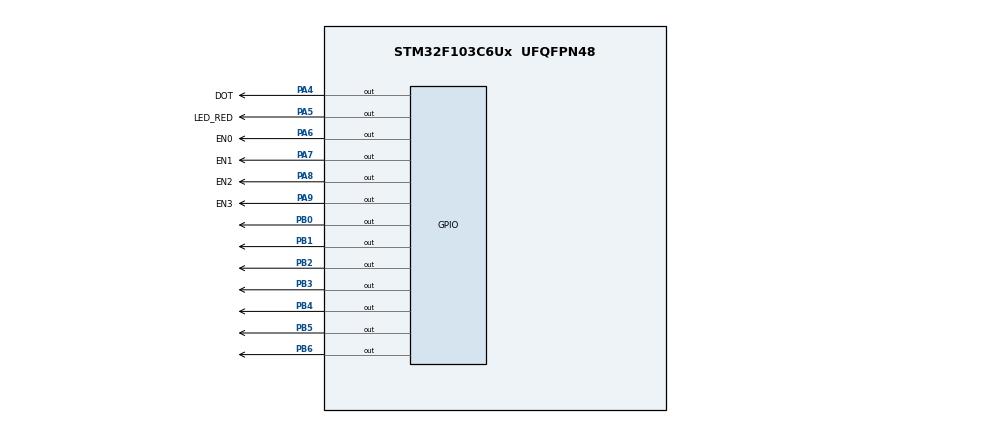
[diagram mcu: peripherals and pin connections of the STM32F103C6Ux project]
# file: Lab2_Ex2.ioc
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Mcu.Family=STM32F1
Mcu.Name=STM32F103C6Ux
Mcu.Package=UFQFPN48
NVIC.PriorityGroup=NVIC_PRIORITYGROUP_4
NVIC.TIM2_IRQn=true\:0\:0\:false\:false\:true\:true\:true\:true
PA4.GPIO_Label=DOT
PA4.Signal=GPIO_Output
PA5.GPIO_Label=LED_RED
PA5.Signal=GPIO_Output
PA6.GPIO_Label=EN0
PA6.Signal=GPIO_Output
PA7.GPIO_Label=EN1
PA7.Signal=GPIO_Output
PA8.GPIO_Label=EN2
PA8.Signal=GPIO_Output
PA9.GPIO_Label=EN3
PA9.Signal=GPIO_Output
PB0.Signal=GPIO_Output
PB1.Signal=GPIO_Output
PB2.Signal=GPIO_Output
PB3.Signal=GPIO_Output
PB4.Signal=GPIO_Output
PB5.Signal=GPIO_Output
PB6.Signal=GPIO_Output
ProjectManager.HeapSize=0x200
ProjectManager.StackSize=0x400
ProjectManager.TargetToolchain=STM32CubeIDE
RCC.APB1Freq_Value=8000000
RCC.APB2Freq_Value=8000000
TIM2.Period=9
TIM2.Prescaler=7999
VP_TIM2_VS_ClockSourceINT.Mode=Internal
board=custom

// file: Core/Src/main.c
/* USER CODE BEGIN Header */
/**
  ******************************************************************************
  * @file           : main.c
  * @brief          : Main program body
  ******************************************************************************
  * @attention
  *
  * Copyright (c) 2022 STMicroelectronics.
  * All rights reserved.
  *
  * This software is licensed under terms that can be found in the LICENSE file
  * in the root directory of this software component.
  * If no LICENSE file comes with this software, it is provided AS-IS.
  *
  ******************************************************************************
  */
/* USER CODE END Header */
#include "main.h"

/* USER CODE BEGIN PTD */
static int i = 1;
static int count = 50;
static int state = 0;
/* USER CODE END PTD */

/* USER CODE BEGIN PD */
#define LIMIT 0
#define SetTime 50
#define MAX_LED 4
/* USER CODE END PD */

TIM_HandleTypeDef htim2;

void SystemClock_Config(void);
static void MX_GPIO_Init(void);
static void MX_TIM2_Init(void);

/* USER CODE BEGIN 0 */
static uint8_t LED7_SEG[10] = {0xC0, 0xF9, 0xA4, 0xB0, 0x99, 0x92, 0x82, 0xF8, 0x80, 0x90};

void display7SEG(int index) {
    HAL_GPIO_WritePin(GPIOB, GPIO_PIN_0, ((LED7_SEG[index] >> 0) & 0x01));
    HAL_GPIO_WritePin(GPIOB, GPIO_PIN_1, ((LED7_SEG[index] >> 1) & 0x01));
    HAL_GPIO_WritePin(GPIOB, GPIO_PIN_2, ((LED7_SEG[index] >> 2) & 0x01));
    HAL_GPIO_WritePin(GPIOB, GPIO_PIN_3, ((LED7_SEG[index] >> 3) & 0x01));
    HAL_GPIO_WritePin(GPIOB, GPIO_PIN_4, ((LED7_SEG[index] >> 4) & 0x01));
    HAL_GPIO_WritePin(GPIOB, GPIO_PIN_5, ((LED7_SEG[index] >> 5) & 0x01));
    HAL_GPIO_WritePin(GPIOB, GPIO_PIN_6, ((LED7_SEG[index] >> 6) & 0x01));
}

void enable7SEG(int i) {
    switch (i) {
        case 0: {
            HAL_GPIO_WritePin(EN0_GPIO_Port, EN0_Pin, RESET);
            HAL_GPIO_WritePin(EN1_GPIO_Port, EN1_Pin, SET);
            HAL_GPIO_WritePin(EN2_GPIO_Port, EN2_Pin, SET);
            HAL_GPIO_WritePin(EN3_GPIO_Port, EN3_Pin, SET);
            break;
        }
        case 1: {
            HAL_GPIO_WritePin(EN0_GPIO_Port, EN0_Pin, SET);
            HAL_GPIO_WritePin(EN1_GPIO_Port, EN1_Pin, RESET);
            HAL_GPIO_WritePin(EN2_GPIO_Port, EN2_Pin, SET);
            HAL_GPIO_WritePin(EN3_GPIO_Port, EN3_Pin, SET);
            break;
        }
        case 2: {
            HAL_GPIO_WritePin(EN0_GPIO_Port, EN0_Pin, SET);
            HAL_GPIO_WritePin(EN1_GPIO_Port, EN1_Pin, SET);
            HAL_GPIO_WritePin(EN2_GPIO_Port, EN2_Pin, RESET);
            HAL_GPIO_WritePin(EN3_GPIO_Port, EN3_Pin, SET);
            break;
        }
        case 3:
            HAL_GPIO_WritePin(EN0_GPIO_Port, EN0_Pin, SET);
            HAL_GPIO_WritePin(EN1_GPIO_Port, EN1_Pin, SET);
            HAL_GPIO_WritePin(EN2_GPIO_Port, EN2_Pin, SET);
            HAL_GPIO_WritePin(EN3_GPIO_Port, EN3_Pin, RESET);
            break;
        default:
            break;
    }
}
/* USER CODE END 0 */

int main(void)
{

  /* MCU Configuration--------------------------------------------------------*/

  /* Reset of all peripherals, Initializes the Flash interface and the Systick. */
  HAL_Init();

  /* Configure the system clock */
  SystemClock_Config();

  /* Initialize all configured peripherals */
  MX_GPIO_Init();
  MX_TIM2_Init();
  /* USER CODE BEGIN 2 */
    HAL_TIM_Base_Start_IT(&htim2);
  /* USER CODE END 2 */

  /* Infinite loop */
    while (1) {

    }
}

void SystemClock_Config(void)
{
  RCC_OscInitTypeDef RCC_OscInitStruct = {0};
  RCC_ClkInitTypeDef RCC_ClkInitStruct = {0};

  /** Initializes the RCC Oscillators according to the specified parameters
  * in the RCC_OscInitTypeDef structure.
  */
  RCC_OscInitStruct.OscillatorType = RCC_OSCILLATORTYPE_HSI;
  RCC_OscInitStruct.HSIState = RCC_HSI_ON;
  RCC_OscInitStruct.HSICalibrationValue = RCC_HSICALIBRATION_DEFAULT;
  RCC_OscInitStruct.PLL.PLLState = RCC_PLL_NONE;
  if (HAL_RCC_OscConfig(&RCC_OscInitStruct) != HAL_OK)
  {
    Error_Handler();
  }

  /** Initializes the CPU, AHB and APB buses clocks
  */
  RCC_ClkInitStruct.ClockType = RCC_CLOCKTYPE_HCLK|RCC_CLOCKTYPE_SYSCLK
                              |RCC_CLOCKTYPE_PCLK1|RCC_CLOCKTYPE_PCLK2;
  RCC_ClkInitStruct.SYSCLKSource = RCC_SYSCLKSOURCE_HSI;
  RCC_ClkInitStruct.AHBCLKDivider = RCC_SYSCLK_DIV1;
  RCC_ClkInitStruct.APB1CLKDivider = RCC_HCLK_DIV1;
  RCC_ClkInitStruct.APB2CLKDivider = RCC_HCLK_DIV1;

  if (HAL_RCC_ClockConfig(&RCC_ClkInitStruct, FLASH_LATENCY_0) != HAL_OK)
  {
    Error_Handler();
  }
}

static void MX_TIM2_Init(void)
{

  TIM_ClockConfigTypeDef sClockSourceConfig = {0};
  TIM_MasterConfigTypeDef sMasterConfig = {0};

  htim2.Instance = TIM2;
  htim2.Init.Prescaler = 7999;
  htim2.Init.CounterMode = TIM_COUNTERMODE_UP;
  htim2.Init.Period = 9;
  htim2.Init.ClockDivision = TIM_CLOCKDIVISION_DIV1;
  htim2.Init.AutoReloadPreload = TIM_AUTORELOAD_PRELOAD_DISABLE;
  if (HAL_TIM_Base_Init(&htim2) != HAL_OK)
  {
    Error_Handler();
  }
  sClockSourceConfig.ClockSource = TIM_CLOCKSOURCE_INTERNAL;
  if (HAL_TIM_ConfigClockSource(&htim2, &sClockSourceConfig) != HAL_OK)
  {
    Error_Handler();
  }
  sMasterConfig.MasterOutputTrigger = TIM_TRGO_RESET;
  sMasterConfig.MasterSlaveMode = TIM_MASTERSLAVEMODE_DISABLE;
  if (HAL_TIMEx_MasterConfigSynchronization(&htim2, &sMasterConfig) != HAL_OK)
  {
    Error_Handler();
  }

}

static void MX_GPIO_Init(void)
{
  GPIO_InitTypeDef GPIO_InitStruct = {0};

  /* GPIO Ports Clock Enable */
  __HAL_RCC_GPIOA_CLK_ENABLE();
  __HAL_RCC_GPIOB_CLK_ENABLE();

  /*Configure GPIO pin Output Level */
  HAL_GPIO_WritePin(GPIOA, DOT_Pin|LED_RED_Pin|EN0_Pin|EN1_Pin
                          |EN2_Pin|EN3_Pin, GPIO_PIN_RESET);

  /*Configure GPIO pin Output Level */
  HAL_GPIO_WritePin(GPIOB, GPIO_PIN_0|GPIO_PIN_1|GPIO_PIN_2|GPIO_PIN_3
                          |GPIO_PIN_4|GPIO_PIN_5|GPIO_PIN_6, GPIO_PIN_RESET);

  /*Configure GPIO pins : DOT_Pin LED_RED_Pin EN0_Pin EN1_Pin
                           EN2_Pin EN3_Pin */
  GPIO_InitStruct.Pin = DOT_Pin|LED_RED_Pin|EN0_Pin|EN1_Pin
                          |EN2_Pin|EN3_Pin;
  GPIO_InitStruct.Mode = GPIO_MODE_OUTPUT_PP;
  GPIO_InitStruct.Pull = GPIO_NOPULL;
  GPIO_InitStruct.Speed = GPIO_SPEED_FREQ_LOW;
  HAL_GPIO_Init(GPIOA, &GPIO_InitStruct);

  /*Configure GPIO pins : PB0 PB1 PB2 PB3
                           PB4 PB5 PB6 */
  GPIO_InitStruct.Pin = GPIO_PIN_0|GPIO_PIN_1|GPIO_PIN_2|GPIO_PIN_3
                          |GPIO_PIN_4|GPIO_PIN_5|GPIO_PIN_6;
  GPIO_InitStruct.Mode = GPIO_MODE_OUTPUT_PP;
  GPIO_InitStruct.Pull = GPIO_NOPULL;
  GPIO_InitStruct.Speed = GPIO_SPEED_FREQ_LOW;
  HAL_GPIO_Init(GPIOB, &GPIO_InitStruct);

}

/* USER CODE BEGIN 4 */

void HAL_TIM_PeriodElapsedCallback(TIM_HandleTypeDef *htim) {
    count--;
    if (count <= LIMIT) {
        count = SetTime;
        enable7SEG(state);
        display7SEG(i);
        i++;
        if (i >= MAX_LED)
            i = 0;
        state++;
        if (state >= MAX_LED)
            state = 0;
    }
}
/* USER CODE END 4 */

void Error_Handler(void)
{
    __disable_irq();
    while (1) {
    }
}
